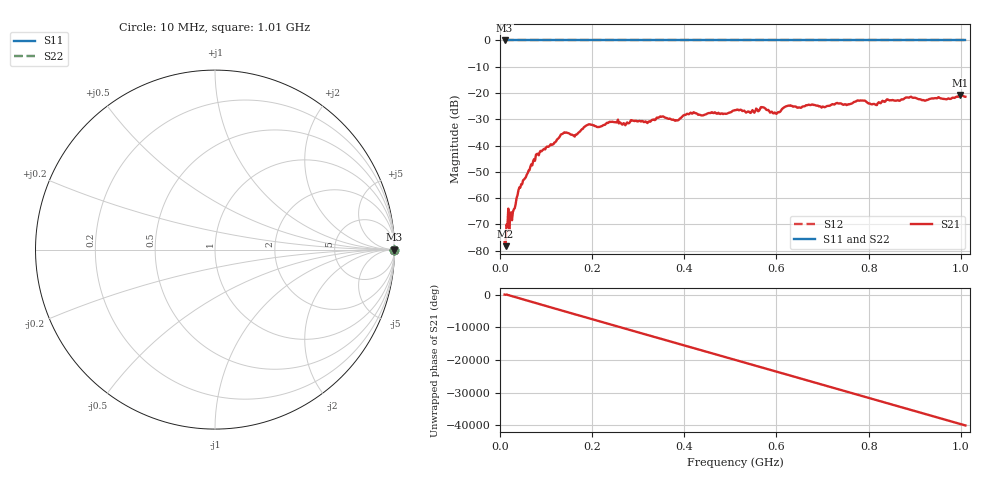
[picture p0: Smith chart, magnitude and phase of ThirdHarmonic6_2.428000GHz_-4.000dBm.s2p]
! 8/17/2025 4:11:06 AM
! C:\ANRITSUVNA\TEMP\TEMP.S2P
! CHANNEL.1
! TR.MEASUREMENT
! RAW.DATA
! RF.CORRECTION.OFF
! AVERAGING.OFF
! IF.BANDWIDTH: 5KHZ
! SWEEPTYPE:  FREQ.SWEEP(Linear)
! Reference Plane Port Info
! PORT:  PORT1  PORT2
! DISTANCE:  0  m  0  m
! TIME:  0  s  0  s
! PHASE.OFFSET:  0  deg.  0  deg.
! LOSS:  0  dB  0  dB
! REF.LOSS:  0  dB  0  dB
! REF.FREQ:  0  Hz  0  Hz
! Power Info
! POWER:  -20  dBm  -20  dBm
! EFF.POWER:  -20  dBm  -20  dBm
! SOURCE.ATTEN:  0  dB  0  dB
! TEST.ATTEN:  0  dB  0  dB
# GHZ S RI R 50.0
! FREQ.GHZ  S11RE  S11IM  S21RE  S21IM  S12RE  S12IM  S22RE  S22IM
!; PortSelection: Port_12
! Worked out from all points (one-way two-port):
!   501 points, 10 MHz to 1.01 GHz, reference 50 ohm
!   highest |S21| = -20.80 dB at 998 MHz (marker M1); lowest = -78.3 dB at 12 MHz (marker M2)
!   lowest |S11| = 0.0 dB at 10 MHz (marker M3)
!   |S11| at or under -10 dB: nowhere
!   |S22| runs from 0.0 to 0.0 dB; largest |S21 - S12| = 1.1
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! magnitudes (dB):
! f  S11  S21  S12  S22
! 10 MHz  0.0  -76.8  0.0  0.0
! 12 MHz  0.0  -78.3  0.0  0.0
! 18 MHz  0.0  -64.0  0.0  0.0
! 30 MHz  0.0  -64.3  0.0  0.0
! 42 MHz  0.0  -56.0  0.0  0.0
! 78 MHz  0.0  -43.5  0.0  0.0
! 136 MHz  0.0  -35.5  0.0  0.0
! 162 MHz  0.0  -36.6  0.0  0.0
! 178 MHz  0.0  -33.8  0.0  0.0
! 344 MHz  0.0  -29.4  0.0  0.0
! 384 MHz  0.0  -30.5  0.0  0.0
! 416 MHz  0.0  -27.8  0.0  0.0
! 510 MHz  0.0  -26.5  0.0  0.0
! 570 MHz  0.0  -25.4  0.0  0.0
! 596 MHz  0.0  -27.4  0.0  0.0
! 626 MHz  0.0  -24.8  0.0  0.0
! 678 MHz  0.0  -24.4  0.0  0.0
! 786 MHz  0.0  -22.8  0.0  0.0
! 814 MHz  0.0  -24.3  0.0  0.0
! 844 MHz  0.0  -22.7  0.0  0.0
! 998 MHz  0.0  -20.8  0.0  0.0
! 1.01 GHz  0.0  -21.4  0.0  0.0
